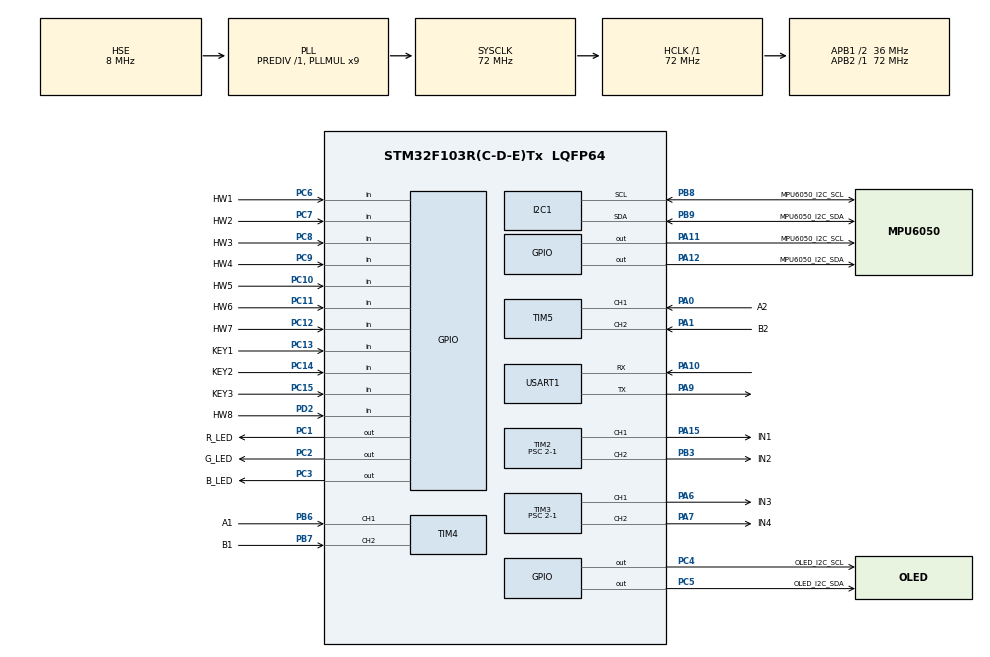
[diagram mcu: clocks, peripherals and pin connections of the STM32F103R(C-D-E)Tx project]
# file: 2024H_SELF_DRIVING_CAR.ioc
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I2C1.I2C_Mode=I2C_Fast
Mcu.Family=STM32F1
Mcu.Name=STM32F103R(C-D-E)Tx
Mcu.Package=LQFP64
NVIC.PriorityGroup=NVIC_PRIORITYGROUP_4
NVIC.TIM6_IRQn=true\:0\:0\:false\:false\:true\:true\:true\:true
NVIC.USART1_IRQn=true\:15\:0\:true\:false\:true\:true\:true\:true
PA0-WKUP.GPIO_Label=A2
PA0-WKUP.Signal=S_TIM5_CH1
PA1.GPIO_Label=B2
PA1.Signal=S_TIM5_CH2
PA10.Mode=Asynchronous
PA10.Signal=USART1_RX
PA11.GPIO_Label=MPU6050_I2C_SCL
PA11.GPIO_ModeDefaultOutputPP=GPIO_MODE_OUTPUT_PP
PA11.GPIO_PuPd=GPIO_NOPULL
PA11.GPIO_Speed=GPIO_SPEED_FREQ_LOW
PA11.PinState=GPIO_PIN_SET
PA11.Signal=GPIO_Output
PA12.GPIO_Label=MPU6050_I2C_SDA
PA12.GPIO_ModeDefaultOutputPP=GPIO_MODE_OUTPUT_PP
PA12.GPIO_PuPd=GPIO_NOPULL
PA12.GPIO_Speed=GPIO_SPEED_FREQ_LOW
PA12.PinState=GPIO_PIN_SET
PA12.Signal=GPIO_Output
PA13.Mode=Serial_Wire
PA13.Signal=SYS_JTMS-SWDIO
PA14.Mode=Serial_Wire
PA14.Signal=SYS_JTCK-SWCLK
PA15.GPIO_Label=IN1
PA15.Signal=S_TIM2_CH1_ETR
PA6.GPIO_Label=IN3
PA6.Signal=S_TIM3_CH1
PA7.GPIO_Label=IN4
PA7.Signal=S_TIM3_CH2
PA9.Mode=Asynchronous
PA9.Signal=USART1_TX
PB3.GPIO_Label=IN2
PB3.Signal=S_TIM2_CH2
PB6.GPIO_Label=A1
PB6.Signal=S_TIM4_CH1
PB7.GPIO_Label=B1
PB7.Signal=S_TIM4_CH2
PB8.GPIO_Label=MPU6050_I2C_SCL
PB8.Mode=I2C
PB8.Signal=I2C1_SCL
PB9.GPIO_Label=MPU6050_I2C_SDA
PB9.Mode=I2C
PB9.Signal=I2C1_SDA
PC1.GPIO_Label=R_LED
PC1.GPIO_ModeDefaultOutputPP=GPIO_MODE_OUTPUT_PP
PC1.GPIO_PuPd=GPIO_PULLUP
PC1.GPIO_Speed=GPIO_SPEED_FREQ_LOW
PC1.PinState=GPIO_PIN_SET
PC1.Signal=GPIO_Output
PC10.GPIO_Label=HW5
PC10.GPIO_Mode=GPIO_MODE_INPUT
PC10.GPIO_PuPd=GPIO_NOPULL
PC10.Signal=GPIO_Input
PC11.GPIO_Label=HW6
PC11.GPIO_Mode=GPIO_MODE_INPUT
PC11.GPIO_PuPd=GPIO_NOPULL
PC11.Signal=GPIO_Input
PC12.GPIO_Label=HW7
PC12.GPIO_Mode=GPIO_MODE_INPUT
PC12.GPIO_PuPd=GPIO_NOPULL
PC12.Signal=GPIO_Input
PC13-TAMPER-RTC.GPIO_Label=KEY1
PC13-TAMPER-RTC.GPIO_Mode=GPIO_MODE_INPUT
PC13-TAMPER-RTC.GPIO_PuPd=GPIO_NOPULL
PC13-TAMPER-RTC.Signal=GPIO_Input
PC14-OSC32_IN.GPIO_Label=KEY2
PC14-OSC32_IN.GPIO_Mode=GPIO_MODE_INPUT
PC14-OSC32_IN.GPIO_PuPd=GPIO_NOPULL
PC14-OSC32_IN.Signal=GPIO_Input
PC15-OSC32_OUT.GPIO_Label=KEY3
PC15-OSC32_OUT.GPIO_Mode=GPIO_MODE_INPUT
PC15-OSC32_OUT.GPIO_PuPd=GPIO_NOPULL
PC15-OSC32_OUT.Signal=GPIO_Input
PC2.GPIO_Label=G_LED
PC2.GPIO_ModeDefaultOutputPP=GPIO_MODE_OUTPUT_PP
PC2.GPIO_PuPd=GPIO_PULLUP
PC2.GPIO_Speed=GPIO_SPEED_FREQ_LOW
PC2.PinState=GPIO_PIN_SET
PC2.Signal=GPIO_Output
PC3.GPIO_Label=B_LED
PC3.GPIO_ModeDefaultOutputPP=GPIO_MODE_OUTPUT_PP
PC3.GPIO_PuPd=GPIO_PULLUP
PC3.GPIO_Speed=GPIO_SPEED_FREQ_LOW
PC3.PinState=GPIO_PIN_SET
PC3.Signal=GPIO_Output
PC4.GPIO_Label=OLED_I2C_SCL
PC4.GPIO_ModeDefaultOutputPP=GPIO_MODE_OUTPUT_PP
PC4.GPIO_PuPd=GPIO_PULLUP
PC4.GPIO_Speed=GPIO_SPEED_FREQ_HIGH
PC4.PinState=GPIO_PIN_RESET
PC4.Signal=GPIO_Output
PC5.GPIO_Label=OLED_I2C_SDA
PC5.GPIO_ModeDefaultOutputPP=GPIO_MODE_OUTPUT_PP
PC5.GPIO_PuPd=GPIO_PULLUP
PC5.GPIO_Speed=GPIO_SPEED_FREQ_HIGH
PC5.PinState=GPIO_PIN_RESET
PC5.Signal=GPIO_Output
PC6.GPIO_Label=HW1
PC6.GPIO_Mode=GPIO_MODE_INPUT
PC6.GPIO_PuPd=GPIO_NOPULL
PC6.Signal=GPIO_Input
PC7.GPIO_Label=HW2
PC7.GPIO_Mode=GPIO_MODE_INPUT
PC7.GPIO_PuPd=GPIO_NOPULL
PC7.Signal=GPIO_Input
PC8.GPIO_Label=HW3
PC8.GPIO_Mode=GPIO_MODE_INPUT
PC8.GPIO_PuPd=GPIO_NOPULL
PC8.Signal=GPIO_Input
PC9.GPIO_Label=HW4
PC9.GPIO_Mode=GPIO_MODE_INPUT
PC9.GPIO_PuPd=GPIO_NOPULL
PC9.Signal=GPIO_Input
PD0-OSC_IN.Mode=HSE-External-Oscillator
PD0-OSC_IN.Signal=RCC_OSC_IN
PD1-OSC_OUT.Mode=HSE-External-Oscillator
PD1-OSC_OUT.Signal=RCC_OSC_OUT
PD2.GPIO_Label=HW8
PD2.GPIO_Mode=GPIO_MODE_INPUT
PD2.GPIO_PuPd=GPIO_NOPULL
PD2.Signal=GPIO_Input
ProjectManager.HeapSize=0x200
ProjectManager.StackSize=0x400
ProjectManager.TargetToolchain=MDK-ARM V5.32
RCC.AHBFreq_Value=72000000
RCC.APB1CLKDivider=RCC_HCLK_DIV2
RCC.APB1Freq_Value=36000000
RCC.APB1TimFreq_Value=72000000
RCC.APB2Freq_Value=72000000
RCC.APB2TimFreq_Value=72000000
RCC.HCLKFreq_Value=72000000
RCC.PLLMUL=RCC_PLL_MUL9
RCC.PLLSourceVirtual=RCC_PLLSOURCE_HSE
RCC.SYSCLKFreq_VALUE=72000000
RCC.SYSCLKSource=RCC_SYSCLKSOURCE_PLLCLK
RCC.USBFreq_Value=72000000
SH.S_TIM2_CH1_ETR.0=TIM2_CH1,PWM Generation1 CH1
SH.S_TIM2_CH2.0=TIM2_CH2,PWM Generation2 CH2
SH.S_TIM3_CH1.0=TIM3_CH1,PWM Generation1 CH1
SH.S_TIM3_CH2.0=TIM3_CH2,PWM Generation2 CH2
SH.S_TIM4_CH1.0=TIM4_CH1,Encoder_Interface
SH.S_TIM4_CH2.0=TIM4_CH2,Encoder_Interface
SH.S_TIM5_CH1.0=TIM5_CH1,Encoder_Interface
SH.S_TIM5_CH2.0=TIM5_CH2,Encoder_Interface
TIM2.Channel-PWM\ Generation1\ CH1=TIM_CHANNEL_1
TIM2.Channel-PWM\ Generation2\ CH2=TIM_CHANNEL_2
TIM2.Period=1000-1
TIM2.Prescaler=2-1
TIM3.Channel-PWM\ Generation1\ CH1=TIM_CHANNEL_1
TIM3.Channel-PWM\ Generation2\ CH2=TIM_CHANNEL_2
TIM3.Period=1000-1
TIM3.Prescaler=2-1
TIM4.EncoderMode=TIM_ENCODERMODE_TI12
TIM4.IC1Filter=0
TIM4.IC2Filter=0
TIM5.EncoderMode=TIM_ENCODERMODE_TI12
TIM5.IC1Filter=0
TIM5.IC2Filter=0
TIM6.AutoReloadPreload=TIM_AUTORELOAD_PRELOAD_ENABLE
TIM6.Period=200-1
TIM6.Prescaler=7200-1
USART1.VirtualMode=VM_ASYNC
VP_TIM6_VS_ClockSourceINT.Mode=Enable_Timer
board=custom

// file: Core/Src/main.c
/* USER CODE BEGIN Header */
/**
  ******************************************************************************
  * @file           : main.c
  * @brief          : Main program body
  ******************************************************************************
  * @attention
  *
  * Copyright (c) 2025 STMicroelectronics.
  * All rights reserved.
  *
  * This software is licensed under terms that can be found in the LICENSE file
  * in the root directory of this software component.
  * If no LICENSE file comes with this software, it is provided AS-IS.
  *
  ******************************************************************************
  */
/* USER CODE END Header */
#include "main.h"
#include "i2c.h"
#include "tim.h"
#include "usart.h"
#include "gpio.h"

/* USER CODE BEGIN Includes */
#include "sys.h"
#include "delay.h"
#include "led.h"
#include "key.h"
#include "oled.h"
#include "menu.h"
#include "line.h"
#include "encoder.h"
#include "motor.h"
#include "control.h"
#include "pid.h"
#include "protocol.h"
#include "mpu6050.h"
#include "dmp.h"
/* USER CODE END Includes */

/* USER CODE BEGIN PV */
uint8_t oledstring_buff[64];//OLED显示缓存
uint8_t Run_Mode;//小车运行模式
/* USER CODE END PV */

void SystemClock_Config(void);

int main(void)
{

  /* MCU Configuration--------------------------------------------------------*/

  /* Reset of all peripherals, Initializes the Flash interface and the Systick. */
  HAL_Init();

  /* Configure the system clock */
  SystemClock_Config();

  /* USER CODE BEGIN SysInit */
	delay_init(72);
  /* USER CODE END SysInit */

  /* Initialize all configured peripherals */
  MX_GPIO_Init();
  MX_USART1_UART_Init();
  MX_TIM2_Init();
  MX_TIM3_Init();
  MX_TIM4_Init();
  MX_TIM5_Init();
  MX_TIM6_Init();
  MX_I2C1_Init();
  /* USER CODE BEGIN 2 */
	OLED_Init();
	OLED_ColorTurn(0);//0正常显示，1 反色显示
  OLED_DisplayTurn(0);//0正常显示 1 屏幕翻转显示

	HAL_TIM_Base_Start_IT(&htim6);//开启TIM6定时中断

	HAL_TIM_Encoder_Start(&htim4,TIM_CHANNEL_ALL);//开启TIM4的编码器接口模式
	HAL_TIM_Encoder_Start(&htim5,TIM_CHANNEL_ALL);//开启TIM5的编码器接口模式

	HAL_TIM_PWM_Start(&htim2,TIM_CHANNEL_1);//开启TIM2的CHANNEL_1PWM输出
	HAL_TIM_PWM_Start(&htim2,TIM_CHANNEL_2);//开启TIM2的CHANNEL_2PWM输出
	HAL_TIM_PWM_Start(&htim3,TIM_CHANNEL_1);//开启TIM3的CHANNEL_1PWM输出
	HAL_TIM_PWM_Start(&htim3,TIM_CHANNEL_2);//开启TIM3的CHANNEL_2PWM输出

	Set_Motor1_Enable();//使能电机1控制PWM输出
	Set_Motor2_Enable();//使能电机2控制PWM输出

	__HAL_UART_ENABLE_IT(&huart1,UART_IT_RXNE);    //串口1接收中断，只开启接收中断，与上位机通信

	protocol_init();//野火上位机初始化

	pid_param_init();//PID参数初始化

	while(mpu_dmp_init()!=0){};//MPU6050 DMP初始化
	MPU6050_calibrate();

  /* USER CODE END 2 */

  /* Infinite loop */
  while (1)
  {

    /* USER CODE BEGIN 3 */

		receiving_process();//解析野火上位机通信协议,调试电机位置速度串级PID时用,不用时注释

		MENU_Display(ITEM_Num);//OLED菜单刷新显示

  }
  /* USER CODE END 3 */
}

void SystemClock_Config(void)
{
  RCC_OscInitTypeDef RCC_OscInitStruct = {0};
  RCC_ClkInitTypeDef RCC_ClkInitStruct = {0};

  /** Initializes the RCC Oscillators according to the specified parameters
  * in the RCC_OscInitTypeDef structure.
  */
  RCC_OscInitStruct.OscillatorType = RCC_OSCILLATORTYPE_HSE;
  RCC_OscInitStruct.HSEState = RCC_HSE_ON;
  RCC_OscInitStruct.HSEPredivValue = RCC_HSE_PREDIV_DIV1;
  RCC_OscInitStruct.HSIState = RCC_HSI_ON;
  RCC_OscInitStruct.PLL.PLLState = RCC_PLL_ON;
  RCC_OscInitStruct.PLL.PLLSource = RCC_PLLSOURCE_HSE;
  RCC_OscInitStruct.PLL.PLLMUL = RCC_PLL_MUL9;
  if (HAL_RCC_OscConfig(&RCC_OscInitStruct) != HAL_OK)
  {
    Error_Handler();
  }

  /** Initializes the CPU, AHB and APB buses clocks
  */
  RCC_ClkInitStruct.ClockType = RCC_CLOCKTYPE_HCLK|RCC_CLOCKTYPE_SYSCLK
                              |RCC_CLOCKTYPE_PCLK1|RCC_CLOCKTYPE_PCLK2;
  RCC_ClkInitStruct.SYSCLKSource = RCC_SYSCLKSOURCE_PLLCLK;
  RCC_ClkInitStruct.AHBCLKDivider = RCC_SYSCLK_DIV1;
  RCC_ClkInitStruct.APB1CLKDivider = RCC_HCLK_DIV2;
  RCC_ClkInitStruct.APB2CLKDivider = RCC_HCLK_DIV1;

  if (HAL_RCC_ClockConfig(&RCC_ClkInitStruct, FLASH_LATENCY_2) != HAL_OK)
  {
    Error_Handler();
  }
}

void Error_Handler(void)
{
  __disable_irq();
  while (1)
  {
  }
}
